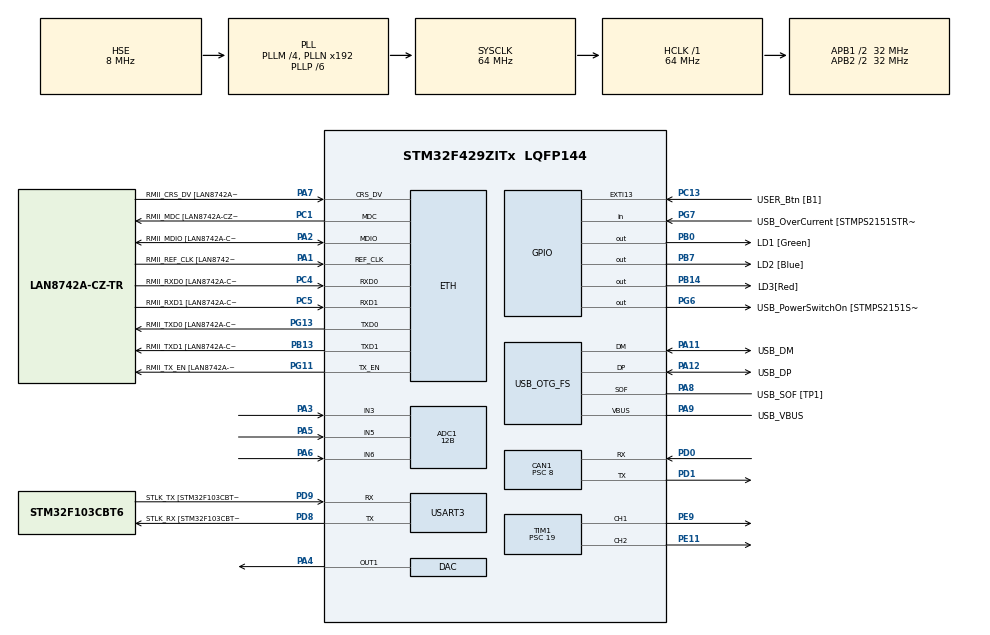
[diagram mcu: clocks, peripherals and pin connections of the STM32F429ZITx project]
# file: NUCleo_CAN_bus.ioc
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ADC1.Channel-2\#ChannelRegularConversion=ADC_CHANNEL_3
ADC1.Channel-3\#ChannelRegularConversion=ADC_CHANNEL_5
ADC1.Channel-4\#ChannelRegularConversion=ADC_CHANNEL_6
ADC1.ClockPrescaler=ADC_CLOCK_SYNC_PCLK_DIV4
ADC1.ContinuousConvMode=ENABLE
ADC1.DMAContinuousRequests=ENABLE
ADC1.DiscontinuousConvMode=DISABLE
ADC1.EOCSelection=ADC_EOC_SINGLE_CONV
ADC1.NbrOfConversion=3
ADC1.NbrOfConversionFlag=1
ADC1.Rank-2\#ChannelRegularConversion=1
ADC1.Rank-3\#ChannelRegularConversion=2
ADC1.Rank-4\#ChannelRegularConversion=3
ADC1.Resolution=ADC_RESOLUTION_12B
ADC1.SamplingTime-2\#ChannelRegularConversion=ADC_SAMPLETIME_84CYCLES
ADC1.SamplingTime-3\#ChannelRegularConversion=ADC_SAMPLETIME_84CYCLES
ADC1.SamplingTime-4\#ChannelRegularConversion=ADC_SAMPLETIME_112CYCLES
ADC1.ScanConvMode=ENABLE
ADC1.master=1
CAN1.ABOM=DISABLE
CAN1.BS1=CAN_BS1_3TQ
CAN1.BS2=CAN_BS2_4TQ
CAN1.CalculateBaudRate=500000
CAN1.CalculateTimeBit=2000
CAN1.CalculateTimeQuantum=250.0
CAN1.NART=DISABLE
CAN1.Prescaler=8
CAN1.SJW=CAN_SJW_1TQ
Dma.ADC1.0.Direction=DMA_PERIPH_TO_MEMORY
Dma.ADC1.0.FIFOMode=DMA_FIFOMODE_DISABLE
Dma.ADC1.0.Instance=DMA2_Stream0
Dma.ADC1.0.MemDataAlignment=DMA_MDATAALIGN_WORD
Dma.ADC1.0.MemInc=DMA_MINC_ENABLE
Dma.ADC1.0.Mode=DMA_CIRCULAR
Dma.ADC1.0.PeriphDataAlignment=DMA_PDATAALIGN_WORD
Dma.ADC1.0.PeriphInc=DMA_PINC_DISABLE
Dma.ADC1.0.Priority=DMA_PRIORITY_MEDIUM
Dma.DAC1.3.Direction=DMA_MEMORY_TO_PERIPH
Dma.DAC1.3.FIFOMode=DMA_FIFOMODE_DISABLE
Dma.DAC1.3.Instance=DMA1_Stream5
Dma.DAC1.3.MemDataAlignment=DMA_MDATAALIGN_WORD
Dma.DAC1.3.MemInc=DMA_MINC_ENABLE
Dma.DAC1.3.Mode=DMA_CIRCULAR
Dma.DAC1.3.PeriphDataAlignment=DMA_PDATAALIGN_WORD
Dma.DAC1.3.PeriphInc=DMA_PINC_DISABLE
Dma.DAC1.3.Priority=DMA_PRIORITY_LOW
Dma.Request0=ADC1
Dma.Request1=TIM1_CH1
Dma.Request2=TIM1_CH2
Dma.Request3=DAC1
Dma.TIM1_CH1.1.Direction=DMA_PERIPH_TO_MEMORY
Dma.TIM1_CH1.1.FIFOMode=DMA_FIFOMODE_DISABLE
Dma.TIM1_CH1.1.Instance=DMA2_Stream1
Dma.TIM1_CH1.1.MemDataAlignment=DMA_MDATAALIGN_WORD
Dma.TIM1_CH1.1.MemInc=DMA_MINC_ENABLE
Dma.TIM1_CH1.1.Mode=DMA_CIRCULAR
Dma.TIM1_CH1.1.PeriphDataAlignment=DMA_PDATAALIGN_WORD
Dma.TIM1_CH1.1.PeriphInc=DMA_PINC_DISABLE
Dma.TIM1_CH1.1.Priority=DMA_PRIORITY_LOW
Dma.TIM1_CH2.2.Direction=DMA_PERIPH_TO_MEMORY
Dma.TIM1_CH2.2.FIFOMode=DMA_FIFOMODE_DISABLE
Dma.TIM1_CH2.2.Instance=DMA2_Stream2
Dma.TIM1_CH2.2.MemDataAlignment=DMA_MDATAALIGN_WORD
Dma.TIM1_CH2.2.MemInc=DMA_MINC_ENABLE
Dma.TIM1_CH2.2.Mode=DMA_CIRCULAR
Dma.TIM1_CH2.2.PeriphDataAlignment=DMA_PDATAALIGN_WORD
Dma.TIM1_CH2.2.PeriphInc=DMA_PINC_DISABLE
Dma.TIM1_CH2.2.Priority=DMA_PRIORITY_LOW
ETH.MediaInterface=HAL_ETH_RMII_MODE
ETH.PHY_Name=LAN8742A_PHY_ADDRESS
ETH.PHY_Value=0
ETH.PhyAddress=0
FREERTOS.Tasks01=myTask01,24,128,StartTask01,Default,NULL,Dynamic,NULL,NULL;myTask02,8,128,StartTask02,Default,NULL,Dynamic,NULL,NULL;myTask03,16,128,StartTask03,Default,NULL,Dynamic,NULL,NULL;myTask04,44,128,StartTask04,Default,NULL,Dynamic,NULL,NULL
Mcu.Family=STM32F4
Mcu.Name=STM32F429ZITx
Mcu.Package=LQFP144
NVIC.CAN1_RX0_IRQn=true\:5\:0\:false\:false\:true\:true\:true\:true\:true
NVIC.DMA1_Stream5_IRQn=true\:5\:0\:false\:false\:true\:true\:false\:true\:true
NVIC.DMA2_Stream0_IRQn=true\:0\:0\:false\:false\:true\:false\:false\:true\:true
NVIC.DMA2_Stream1_IRQn=true\:5\:0\:false\:false\:true\:true\:false\:true\:true
NVIC.DMA2_Stream2_IRQn=true\:5\:0\:false\:false\:true\:true\:false\:true\:true
NVIC.PriorityGroup=NVIC_PRIORITYGROUP_4
NVIC.TIM7_IRQn=true\:15\:0\:false\:false\:true\:false\:false\:true\:true
NVIC.TimeBase=TIM7_IRQn
NVIC.TimeBaseIP=TIM7
NVIC.USART3_IRQn=true\:5\:0\:false\:false\:true\:false\:true\:true\:true
PA1.GPIO_Label=RMII_REF_CLK [LAN8742A-CZ-TR_REFCLK0]
PA1.Mode=RMII
PA1.Signal=ETH_REF_CLK
PA10.GPIO_Label=USB_ID
PA10.Signal=USB_OTG_FS_ID
PA11.GPIO_Label=USB_DM
PA11.Mode=Device_Only
PA11.Signal=USB_OTG_FS_DM
PA12.GPIO_Label=USB_DP
PA12.Mode=Device_Only
PA12.Signal=USB_OTG_FS_DP
PA13.GPIO_Label=TMS
PA13.Mode=Serial_Wire
PA13.Signal=SYS_JTMS-SWDIO
PA14.GPIO_Label=TCK
PA14.Mode=Serial_Wire
PA14.Signal=SYS_JTCK-SWCLK
PA2.GPIO_Label=RMII_MDIO [LAN8742A-CZ-TR_MDIO]
PA2.Mode=RMII
PA2.Signal=ETH_MDIO
PA3.Signal=ADCx_IN3
PA4.Signal=COMP_DAC1_group
PA5.Signal=ADCx_IN5
PA6.Signal=ADCx_IN6
PA7.GPIO_Label=RMII_CRS_DV [LAN8742A-CZ-TR_CRS_DV]
PA7.Mode=RMII
PA7.Signal=ETH_CRS_DV
PA8.GPIO_Label=USB_SOF [TP1]
PA8.Mode=Activate_SOF_FS
PA8.Signal=USB_OTG_FS_SOF
PA9.GPIO_Label=USB_VBUS
PA9.Mode=Activate_VBUS
PA9.Signal=USB_OTG_FS_VBUS
PB0.GPIO_Label=LD1 [Green]
PB0.Signal=GPIO_Output
PB13.GPIO_Label=RMII_TXD1 [LAN8742A-CZ-TR_TXD1]
PB13.Mode=RMII
PB13.Signal=ETH_TXD1
PB14.GPIO_Label=LD3[Red]
PB14.Signal=GPIO_Output
PB7.GPIO_Label=LD2 [Blue]
PB7.Signal=GPIO_Output
PC1.GPIO_Label=RMII_MDC [LAN8742A-CZ-TR_MDC]
PC1.Mode=RMII
PC1.Signal=ETH_MDC
PC13.GPIO_Label=USER_Btn [B1]
PC13.GPIO_PuPd=GPIO_PULLDOWN
PC13.Signal=GPXTI13
PC14/OSC32_IN.Mode=LSE-External-Oscillator
PC14/OSC32_IN.Signal=RCC_OSC32_IN
PC15/OSC32_OUT.Mode=LSE-External-Oscillator
PC15/OSC32_OUT.Signal=RCC_OSC32_OUT
PC4.GPIO_Label=RMII_RXD0 [LAN8742A-CZ-TR_RXD0]
PC4.Mode=RMII
PC4.Signal=ETH_RXD0
PC5.GPIO_Label=RMII_RXD1 [LAN8742A-CZ-TR_RXD1]
PC5.Mode=RMII
PC5.Signal=ETH_RXD1
PD0.Mode=CAN_Activate
PD0.Signal=CAN1_RX
PD1.Mode=CAN_Activate
PD1.Signal=CAN1_TX
PD8.GPIO_Label=STLK_RX [STM32F103CBT6_PA3]
PD8.Mode=Asynchronous
PD8.Signal=USART3_TX
PD9.GPIO_Label=STLK_TX [STM32F103CBT6_PA2]
PD9.Mode=Asynchronous
PD9.Signal=USART3_RX
PE11.Signal=S_TIM1_CH2
PE9.Signal=S_TIM1_CH1
PG11.GPIO_Label=RMII_TX_EN [LAN8742A-CZ-TR_TXEN]
PG11.Mode=RMII
PG11.Signal=ETH_TX_EN
PG13.GPIO_Label=RMII_TXD0 [LAN8742A-CZ-TR_TXD0]
PG13.Mode=RMII
PG13.Signal=ETH_TXD0
PG6.GPIO_Label=USB_PowerSwitchOn [STMPS2151STR_EN]
PG6.Signal=GPIO_Output
PG7.GPIO_Label=USB_OverCurrent [STMPS2151STR_FAULT]
PG7.Signal=GPIO_Input
PH0/OSC_IN.GPIO_Label=MCO [STM32F103CBT6_PA8]
PH0/OSC_IN.Mode=HSE-External-Clock-Source
PH0/OSC_IN.Signal=RCC_OSC_IN
PH1/OSC_OUT.Mode=HSE-External-Clock-Source
PH1/OSC_OUT.Signal=RCC_OSC_OUT
ProjectManager.HeapSize=0x200
ProjectManager.StackSize=0x400
ProjectManager.TargetToolchain=STM32CubeIDE
RCC.48MHZClocksFreq_Value=48000000
RCC.AHBFreq_Value=64000000
RCC.APB1CLKDivider=RCC_HCLK_DIV2
RCC.APB1Freq_Value=32000000
RCC.APB1TimFreq_Value=64000000
RCC.APB2CLKDivider=RCC_HCLK_DIV2
RCC.APB2Freq_Value=32000000
RCC.APB2TimFreq_Value=64000000
RCC.CortexFreq_Value=64000000
RCC.HCLKFreq_Value=64000000
RCC.HSE_VALUE=8000000
RCC.HSI_VALUE=16000000
RCC.PLLM=4
RCC.PLLMUL=RCC_PLL_MUL9
RCC.PLLP=RCC_PLLP_DIV6
RCC.PLLQ=8
RCC.PRESCALERUSB=RCC_USBCLKSOURCE_PLL_DIV1_5
RCC.SYSCLKFreq_VALUE=64000000
RCC.SYSCLKSource=RCC_SYSCLKSOURCE_PLLCLK
RCC.SYSCLKSourceVirtual=RCC_SYSCLKSOURCE_PLLCLK
RCC.USBFreq_Value=48000000
RCC.VCOOutputFreq_Value=384000000
SH.ADCx_IN3.0=ADC1_IN3,IN3
SH.ADCx_IN5.0=ADC1_IN5,IN5
SH.ADCx_IN6.0=ADC1_IN6,IN6
SH.COMP_DAC1_group.0=DAC_OUT1,DAC_OUT1
SH.S_TIM1_CH1.0=TIM1_CH1,PWM Generation1 CH1
SH.S_TIM1_CH2.0=TIM1_CH2,PWM Generation2 CH2
TIM1.Channel-PWM\ Generation1\ CH1=TIM_CHANNEL_1
TIM1.Channel-PWM\ Generation2\ CH2=TIM_CHANNEL_2
TIM1.Period=63999
TIM1.Prescaler=19
USART3.Parity=PARITY_NONE
USART3.VirtualMode=VM_ASYNC
USB_OTG_FS.VirtualMode=Device_Only
VP_FREERTOS_VS_CMSIS_V2.Mode=CMSIS_V2
VP_SYS_VS_tim7.Mode=TIM7
VP_TIM1_VS_ClockSourceINT.Mode=Internal
board=NUCLEO-F429ZI

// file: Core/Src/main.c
/* USER CODE BEGIN Header */
/**
 * https://doc.qt.io/qt-6/qtserialbus-can-example.html
 *
  ******************************************************************************
  * @file           : main.c
  * @brief          : Main program body
  ******************************************************************************
  * @attention
  *
  * Copyright (c) 2024 STMicroelectronics.
  * All rights reserved.
  *
  * This software is licensed under terms that can be found in the LICENSE file
  * in the root directory of this software component.
  * If no LICENSE file comes with this software, it is provided AS-IS.
  *
  ******************************************************************************
  */
/* USER CODE END Header */
#include "main.h"
#include "string.h"
#include "cmsis_os.h"

/* USER CODE BEGIN PD */
	uint8_t BlueBtn = 0;
	uint32_t adcdma[3];
	uint32_t m_ave_buff[3][20];
	uint32_t  adc_input[3];
	uint32_t  pwm_outLED  = 0;
	uint32_t  pwm_outSERV = 0;

	CAN_TxHeaderTypeDef TxHeader;
	CAN_RxHeaderTypeDef RxHeader;

	uint8_t TXdata_CAN1[8];
	uint8_t RXdata_CAN1[8];
	uint32_t TxMailBox;

	void HAL_CAN_RxFifo0MsgPendingCallback(CAN_HandleTypeDef *hcan){
		HAL_CAN_GetRxMessage(hcan, CAN_RX_FIFO0  , &RxHeader, RXdata_CAN1);
		if(RxHeader.DLC == 3 )
			HAL_GPIO_TogglePin(GPIOB, GPIO_PIN_14);
	}

volatile char TXdata_Usart3[15];    // data

/* USER CODE END PD */

ETH_TxPacketConfig TxConfig;
ETH_DMADescTypeDef  DMARxDscrTab[ETH_RX_DESC_CNT]; /* Ethernet Rx DMA Descriptors */
ETH_DMADescTypeDef  DMATxDscrTab[ETH_TX_DESC_CNT]; /* Ethernet Tx DMA Descriptors */

ADC_HandleTypeDef hadc1;
DMA_HandleTypeDef hdma_adc1;

CAN_HandleTypeDef hcan1;

DAC_HandleTypeDef hdac;
DMA_HandleTypeDef hdma_dac1;

ETH_HandleTypeDef heth;

TIM_HandleTypeDef htim1;
DMA_HandleTypeDef hdma_tim1_ch1;
DMA_HandleTypeDef hdma_tim1_ch2;

UART_HandleTypeDef huart3;

PCD_HandleTypeDef hpcd_USB_OTG_FS;

/* Definitions for myTask01 */
osThreadId_t myTask01Handle;
const osThreadAttr_t myTask01_attributes = {
  .name = "myTask01",
  .stack_size = 128 * 4,
  .priority = (osPriority_t) osPriorityNormal,
};
/* Definitions for myTask02 */
osThreadId_t myTask02Handle;
const osThreadAttr_t myTask02_attributes = {
  .name = "myTask02",
  .stack_size = 128 * 4,
  .priority = (osPriority_t) osPriorityLow,
};
/* Definitions for myTask03 */
osThreadId_t myTask03Handle;
const osThreadAttr_t myTask03_attributes = {
  .name = "myTask03",
  .stack_size = 128 * 4,
  .priority = (osPriority_t) osPriorityBelowNormal,
};
/* Definitions for myTask04 */
osThreadId_t myTask04Handle;
const osThreadAttr_t myTask04_attributes = {
  .name = "myTask04",
  .stack_size = 128 * 4,
  .priority = (osPriority_t) osPriorityHigh4,
};

void SystemClock_Config(void);
static void MX_GPIO_Init(void);
static void MX_DMA_Init(void);
static void MX_ETH_Init(void);
static void MX_USART3_UART_Init(void);
static void MX_USB_OTG_FS_PCD_Init(void);
static void MX_ADC1_Init(void);
static void MX_TIM1_Init(void);
static void MX_DAC_Init(void);
static void MX_CAN1_Init(void);
void StartTask01(void *argument);
void StartTask02(void *argument);
void StartTask03(void *argument);
void StartTask04(void *argument);

/* USER CODE BEGIN 0 */
uint8_t updating_index = 0;
uint8_t checkTx_UART3 =0;

uint32_t MAve_Filter_use(uint32_t * buffer, int length){
	int sum= 0;
	for(int i=0; i <length ; i++)// moving average
			sum = sum + buffer[i];
	return sum/length; //take averagevalue
}
int MAve_Filter_fill(uint32_t * buffer, int length ,uint32_t new_value){

	if(updating_index >= length)//if reached size
		updating_index =0;

	buffer[updating_index]=new_value; // update with new value
	updating_index++;//move to next index point
	return 0;
}
void HAL_ADC_ConvCpltCallback(ADC_HandleTypeDef* hadc){
	  MAve_Filter_fill(m_ave_buff[0],sizeof(m_ave_buff[0])/sizeof(m_ave_buff[0][0]),adcdma[0]);
	  MAve_Filter_fill(m_ave_buff[1],sizeof(m_ave_buff[1])/sizeof(m_ave_buff[1][0]),adcdma[1]);
	  MAve_Filter_fill(m_ave_buff[2],sizeof(m_ave_buff[2])/sizeof(m_ave_buff[2][0]),adcdma[2]);
}
void HAL_UART_TxCpltCallback(UART_HandleTypeDef * huart){
	  checkTx_UART3 = 1;
}

/* USER CODE END 0 */

int main(void)
{

  /* MCU Configuration--------------------------------------------------------*/

  /* Reset of all peripherals, Initializes the Flash interface and the Systick. */
  HAL_Init();

  /* Configure the system clock */
  SystemClock_Config();

  /* Initialize all configured peripherals */
  MX_GPIO_Init();
  MX_DMA_Init();
  MX_ETH_Init();
  MX_USART3_UART_Init();
  MX_USB_OTG_FS_PCD_Init();
  MX_ADC1_Init();
  MX_TIM1_Init();
  MX_DAC_Init();
  MX_CAN1_Init();
  /* USER CODE BEGIN 2 */

  HAL_ADC_Start_DMA(&hadc1, (uint32_t *)  adcdma , hadc1.Init.NbrOfConversion );

  HAL_TIM_PWM_Start_DMA(&htim1, TIM_CHANNEL_1,  &pwm_outLED , 1 );
  HAL_TIM_PWM_Start_DMA(&htim1, TIM_CHANNEL_2 , (&pwm_outSERV) , 1 );

  HAL_CAN_Start(&hcan1);
  HAL_CAN_ActivateNotification(&hcan1, CAN_IT_RX_FIFO0_MSG_PENDING);

  TxHeader.DLC = 4;//data length
  TxHeader.IDE = CAN_ID_STD;
  TxHeader.RTR = CAN_RTR_DATA;
  TxHeader.StdId = 0x371; // The ID

  //HAL_DAC_Start_DMA(&hdac, DAC_CHANNEL_1, &adc_input[2] , 1 , DAC_ALIGN_12B_R );

  /* USER CODE END 2 */

  /* Init scheduler */
  osKernelInitialize();

  /* Create the thread(s) */
  /* creation of myTask01 */
  myTask01Handle = osThreadNew(StartTask01, NULL, &myTask01_attributes);

  /* creation of myTask02 */
  myTask02Handle = osThreadNew(StartTask02, NULL, &myTask02_attributes);

  /* creation of myTask03 */
  myTask03Handle = osThreadNew(StartTask03, NULL, &myTask03_attributes);

  /* creation of myTask04 */
  myTask04Handle = osThreadNew(StartTask04, NULL, &myTask04_attributes);

  /* Start scheduler */
  osKernelStart();
  /* We should never get here as control is now taken by the scheduler */
  /* Infinite loop */
  while (1)
  {

  }
}

void SystemClock_Config(void)
{
  RCC_OscInitTypeDef RCC_OscInitStruct = {0};
  RCC_ClkInitTypeDef RCC_ClkInitStruct = {0};

  /** Configure the main internal regulator output voltage
  */
  __HAL_RCC_PWR_CLK_ENABLE();
  __HAL_PWR_VOLTAGESCALING_CONFIG(PWR_REGULATOR_VOLTAGE_SCALE3);

  /** Initializes the RCC Oscillators according to the specified parameters
  * in the RCC_OscInitTypeDef structure.
  */
  RCC_OscInitStruct.OscillatorType = RCC_OSCILLATORTYPE_HSE;
  RCC_OscInitStruct.HSEState = RCC_HSE_BYPASS;
  RCC_OscInitStruct.PLL.PLLState = RCC_PLL_ON;
  RCC_OscInitStruct.PLL.PLLSource = RCC_PLLSOURCE_HSE;
  RCC_OscInitStruct.PLL.PLLM = 4;
  RCC_OscInitStruct.PLL.PLLN = 192;
  RCC_OscInitStruct.PLL.PLLP = RCC_PLLP_DIV6;
  RCC_OscInitStruct.PLL.PLLQ = 8;
  if (HAL_RCC_OscConfig(&RCC_OscInitStruct) != HAL_OK)
  {
    Error_Handler();
  }

  /** Initializes the CPU, AHB and APB buses clocks
  */
  RCC_ClkInitStruct.ClockType = RCC_CLOCKTYPE_HCLK|RCC_CLOCKTYPE_SYSCLK
                              |RCC_CLOCKTYPE_PCLK1|RCC_CLOCKTYPE_PCLK2;
  RCC_ClkInitStruct.SYSCLKSource = RCC_SYSCLKSOURCE_PLLCLK;
  RCC_ClkInitStruct.AHBCLKDivider = RCC_SYSCLK_DIV1;
  RCC_ClkInitStruct.APB1CLKDivider = RCC_HCLK_DIV2;
  RCC_ClkInitStruct.APB2CLKDivider = RCC_HCLK_DIV2;

  if (HAL_RCC_ClockConfig(&RCC_ClkInitStruct, FLASH_LATENCY_2) != HAL_OK)
  {
    Error_Handler();
  }
}

static void MX_ADC1_Init(void)
{

  ADC_ChannelConfTypeDef sConfig = {0};

  /** Configure the global features of the ADC (Clock, Resolution, Data Alignment and number of conversion)
  */
  hadc1.Instance = ADC1;
  hadc1.Init.ClockPrescaler = ADC_CLOCK_SYNC_PCLK_DIV4;
  hadc1.Init.Resolution = ADC_RESOLUTION_12B;
  hadc1.Init.ScanConvMode = ENABLE;
  hadc1.Init.ContinuousConvMode = ENABLE;
  hadc1.Init.DiscontinuousConvMode = DISABLE;
  hadc1.Init.ExternalTrigConvEdge = ADC_EXTERNALTRIGCONVEDGE_NONE;
  hadc1.Init.ExternalTrigConv = ADC_SOFTWARE_START;
  hadc1.Init.DataAlign = ADC_DATAALIGN_RIGHT;
  hadc1.Init.NbrOfConversion = 3;
  hadc1.Init.DMAContinuousRequests = ENABLE;
  hadc1.Init.EOCSelection = ADC_EOC_SINGLE_CONV;
  if (HAL_ADC_Init(&hadc1) != HAL_OK)
  {
    Error_Handler();
  }

  /** Configure for the selected ADC regular channel its corresponding rank in the sequencer and its sample time.
  */
  sConfig.Channel = ADC_CHANNEL_3;
  sConfig.Rank = 1;
  sConfig.SamplingTime = ADC_SAMPLETIME_84CYCLES;
  if (HAL_ADC_ConfigChannel(&hadc1, &sConfig) != HAL_OK)
  {
    Error_Handler();
  }

  /** Configure for the selected ADC regular channel its corresponding rank in the sequencer and its sample time.
  */
  sConfig.Channel = ADC_CHANNEL_5;
  sConfig.Rank = 2;
  if (HAL_ADC_ConfigChannel(&hadc1, &sConfig) != HAL_OK)
  {
    Error_Handler();
  }

  /** Configure for the selected ADC regular channel its corresponding rank in the sequencer and its sample time.
  */
  sConfig.Channel = ADC_CHANNEL_6;
  sConfig.Rank = 3;
  sConfig.SamplingTime = ADC_SAMPLETIME_112CYCLES;
  if (HAL_ADC_ConfigChannel(&hadc1, &sConfig) != HAL_OK)
  {
    Error_Handler();
  }

}

static void MX_CAN1_Init(void)
{

  hcan1.Instance = CAN1;
  hcan1.Init.Prescaler = 8;
  hcan1.Init.Mode = CAN_MODE_NORMAL;
  hcan1.Init.SyncJumpWidth = CAN_SJW_1TQ;
  hcan1.Init.TimeSeg1 = CAN_BS1_3TQ;
  hcan1.Init.TimeSeg2 = CAN_BS2_4TQ;
  hcan1.Init.TimeTriggeredMode = DISABLE;
  hcan1.Init.AutoBusOff = DISABLE;
  hcan1.Init.AutoWakeUp = DISABLE;
  hcan1.Init.AutoRetransmission = DISABLE;
  hcan1.Init.ReceiveFifoLocked = DISABLE;
  hcan1.Init.TransmitFifoPriority = DISABLE;
  if (HAL_CAN_Init(&hcan1) != HAL_OK)
  {
    Error_Handler();
  }
  /* USER CODE BEGIN CAN1_Init 2 */
  CAN_FilterTypeDef canfilterconfig;

    canfilterconfig.FilterActivation = CAN_FILTER_ENABLE;
    canfilterconfig.FilterBank = 18;  // which filter bank to use from the assigned ones
    canfilterconfig.FilterFIFOAssignment = CAN_FILTER_FIFO0;
    canfilterconfig.FilterIdHigh = 0x446<<5;
    canfilterconfig.FilterIdLow = 0;
    canfilterconfig.FilterMaskIdHigh = 0x446<<5;
    canfilterconfig.FilterMaskIdLow = 0x0000;
    canfilterconfig.FilterMode = CAN_FILTERMODE_IDMASK;
    canfilterconfig.FilterScale = CAN_FILTERSCALE_32BIT;
    canfilterconfig.SlaveStartFilterBank = 20;  // how many filters to assign to the CAN1 (master can)

    HAL_CAN_ConfigFilter(&hcan1, &canfilterconfig);
  /* USER CODE END CAN1_Init 2 */

}

static void MX_DAC_Init(void)
{

  DAC_ChannelConfTypeDef sConfig = {0};

  /** DAC Initialization
  */
  hdac.Instance = DAC;
  if (HAL_DAC_Init(&hdac) != HAL_OK)
  {
    Error_Handler();
  }

  /** DAC channel OUT1 config
  */
  sConfig.DAC_Trigger = DAC_TRIGGER_NONE;
  sConfig.DAC_OutputBuffer = DAC_OUTPUTBUFFER_ENABLE;
  if (HAL_DAC_ConfigChannel(&hdac, &sConfig, DAC_CHANNEL_1) != HAL_OK)
  {
    Error_Handler();
  }

}

static void MX_ETH_Init(void)
{

   static uint8_t MACAddr[6];

  heth.Instance = ETH;
  MACAddr[0] = 0x00;
  MACAddr[1] = 0x80;
  MACAddr[2] = 0xE1;
  MACAddr[3] = 0x00;
  MACAddr[4] = 0x00;
  MACAddr[5] = 0x00;
  heth.Init.MACAddr = &MACAddr[0];
  heth.Init.MediaInterface = HAL_ETH_RMII_MODE;
  heth.Init.TxDesc = DMATxDscrTab;
  heth.Init.RxDesc = DMARxDscrTab;
  heth.Init.RxBuffLen = 1524;

  if (HAL_ETH_Init(&heth) != HAL_OK)
  {
    Error_Handler();
  }

  memset(&TxConfig, 0 , sizeof(ETH_TxPacketConfig));
  TxConfig.Attributes = ETH_TX_PACKETS_FEATURES_CSUM | ETH_TX_PACKETS_FEATURES_CRCPAD;
  TxConfig.ChecksumCtrl = ETH_CHECKSUM_IPHDR_PAYLOAD_INSERT_PHDR_CALC;
  TxConfig.CRCPadCtrl = ETH_CRC_PAD_INSERT;

}

static void MX_TIM1_Init(void)
{

  TIM_ClockConfigTypeDef sClockSourceConfig = {0};
  TIM_MasterConfigTypeDef sMasterConfig = {0};
  TIM_OC_InitTypeDef sConfigOC = {0};
  TIM_BreakDeadTimeConfigTypeDef sBreakDeadTimeConfig = {0};

  htim1.Instance = TIM1;
  htim1.Init.Prescaler = 19;
  htim1.Init.CounterMode = TIM_COUNTERMODE_UP;
  htim1.Init.Period = 63999;
  htim1.Init.ClockDivision = TIM_CLOCKDIVISION_DIV1;
  htim1.Init.RepetitionCounter = 0;
  htim1.Init.AutoReloadPreload = TIM_AUTORELOAD_PRELOAD_DISABLE;
  if (HAL_TIM_Base_Init(&htim1) != HAL_OK)
  {
    Error_Handler();
  }
  sClockSourceConfig.ClockSource = TIM_CLOCKSOURCE_INTERNAL;
  if (HAL_TIM_ConfigClockSource(&htim1, &sClockSourceConfig) != HAL_OK)
  {
    Error_Handler();
  }
  if (HAL_TIM_PWM_Init(&htim1) != HAL_OK)
  {
    Error_Handler();
  }
  sMasterConfig.MasterOutputTrigger = TIM_TRGO_RESET;
  sMasterConfig.MasterSlaveMode = TIM_MASTERSLAVEMODE_DISABLE;
  if (HAL_TIMEx_MasterConfigSynchronization(&htim1, &sMasterConfig) != HAL_OK)
  {
    Error_Handler();
  }
  sConfigOC.OCMode = TIM_OCMODE_PWM1;
  sConfigOC.Pulse = 0;
  sConfigOC.OCPolarity = TIM_OCPOLARITY_HIGH;
  sConfigOC.OCNPolarity = TIM_OCNPOLARITY_HIGH;
  sConfigOC.OCFastMode = TIM_OCFAST_DISABLE;
  sConfigOC.OCIdleState = TIM_OCIDLESTATE_RESET;
  sConfigOC.OCNIdleState = TIM_OCNIDLESTATE_RESET;
  if (HAL_TIM_PWM_ConfigChannel(&htim1, &sConfigOC, TIM_CHANNEL_1) != HAL_OK)
  {
    Error_Handler();
  }
  if (HAL_TIM_PWM_ConfigChannel(&htim1, &sConfigOC, TIM_CHANNEL_2) != HAL_OK)
  {
    Error_Handler();
  }
  sBreakDeadTimeConfig.OffStateRunMode = TIM_OSSR_DISABLE;
  sBreakDeadTimeConfig.OffStateIDLEMode = TIM_OSSI_DISABLE;
  sBreakDeadTimeConfig.LockLevel = TIM_LOCKLEVEL_OFF;
  sBreakDeadTimeConfig.DeadTime = 0;
  sBreakDeadTimeConfig.BreakState = TIM_BREAK_DISABLE;
  sBreakDeadTimeConfig.BreakPolarity = TIM_BREAKPOLARITY_HIGH;
  sBreakDeadTimeConfig.AutomaticOutput = TIM_AUTOMATICOUTPUT_DISABLE;
  if (HAL_TIMEx_ConfigBreakDeadTime(&htim1, &sBreakDeadTimeConfig) != HAL_OK)
  {
    Error_Handler();
  }
  HAL_TIM_MspPostInit(&htim1);

}

static void MX_USART3_UART_Init(void)
{

  huart3.Instance = USART3;
  huart3.Init.BaudRate = 115200;
  huart3.Init.WordLength = UART_WORDLENGTH_8B;
  huart3.Init.StopBits = UART_STOPBITS_1;
  huart3.Init.Parity = UART_PARITY_NONE;
  huart3.Init.Mode = UART_MODE_TX_RX;
  huart3.Init.HwFlowCtl = UART_HWCONTROL_NONE;
  huart3.Init.OverSampling = UART_OVERSAMPLING_16;
  if (HAL_UART_Init(&huart3) != HAL_OK)
  {
    Error_Handler();
  }

}

static void MX_USB_OTG_FS_PCD_Init(void)
{

  hpcd_USB_OTG_FS.Instance = USB_OTG_FS;
  hpcd_USB_OTG_FS.Init.dev_endpoints = 4;
  hpcd_USB_OTG_FS.Init.speed = PCD_SPEED_FULL;
  hpcd_USB_OTG_FS.Init.dma_enable = DISABLE;
  hpcd_USB_OTG_FS.Init.phy_itface = PCD_PHY_EMBEDDED;
  hpcd_USB_OTG_FS.Init.Sof_enable = ENABLE;
  hpcd_USB_OTG_FS.Init.low_power_enable = DISABLE;
  hpcd_USB_OTG_FS.Init.lpm_enable = DISABLE;
  hpcd_USB_OTG_FS.Init.vbus_sensing_enable = ENABLE;
  hpcd_USB_OTG_FS.Init.use_dedicated_ep1 = DISABLE;
  if (HAL_PCD_Init(&hpcd_USB_OTG_FS) != HAL_OK)
  {
    Error_Handler();
  }

}

static void MX_DMA_Init(void)
{

  /* DMA controller clock enable */
  __HAL_RCC_DMA2_CLK_ENABLE();
  __HAL_RCC_DMA1_CLK_ENABLE();

  /* DMA interrupt init */
  /* DMA1_Stream5_IRQn interrupt configuration */
  HAL_NVIC_SetPriority(DMA1_Stream5_IRQn, 5, 0);
  HAL_NVIC_EnableIRQ(DMA1_Stream5_IRQn);
  /* DMA2_Stream0_IRQn interrupt configuration */
  HAL_NVIC_SetPriority(DMA2_Stream0_IRQn, 0, 0);
  HAL_NVIC_EnableIRQ(DMA2_Stream0_IRQn);
  /* DMA2_Stream1_IRQn interrupt configuration */
  HAL_NVIC_SetPriority(DMA2_Stream1_IRQn, 5, 0);
  HAL_NVIC_EnableIRQ(DMA2_Stream1_IRQn);
  /* DMA2_Stream2_IRQn interrupt configuration */
  HAL_NVIC_SetPriority(DMA2_Stream2_IRQn, 5, 0);
  HAL_NVIC_EnableIRQ(DMA2_Stream2_IRQn);

}

static void MX_GPIO_Init(void)
{
  GPIO_InitTypeDef GPIO_InitStruct = {0};

  /* GPIO Ports Clock Enable */
  __HAL_RCC_GPIOC_CLK_ENABLE();
  __HAL_RCC_GPIOH_CLK_ENABLE();
  __HAL_RCC_GPIOA_CLK_ENABLE();
  __HAL_RCC_GPIOB_CLK_ENABLE();
  __HAL_RCC_GPIOE_CLK_ENABLE();
  __HAL_RCC_GPIOD_CLK_ENABLE();
  __HAL_RCC_GPIOG_CLK_ENABLE();

  /*Configure GPIO pin Output Level */
  HAL_GPIO_WritePin(GPIOB, LD1_Pin|LD3_Pin|LD2_Pin, GPIO_PIN_RESET);

  /*Configure GPIO pin Output Level */
  HAL_GPIO_WritePin(USB_PowerSwitchOn_GPIO_Port, USB_PowerSwitchOn_Pin, GPIO_PIN_RESET);

  /*Configure GPIO pin : USER_Btn_Pin */
  GPIO_InitStruct.Pin = USER_Btn_Pin;
  GPIO_InitStruct.Mode = GPIO_MODE_IT_RISING;
  GPIO_InitStruct.Pull = GPIO_PULLDOWN;
  HAL_GPIO_Init(USER_Btn_GPIO_Port, &GPIO_InitStruct);

  /*Configure GPIO pins : LD1_Pin LD3_Pin LD2_Pin */
  GPIO_InitStruct.Pin = LD1_Pin|LD3_Pin|LD2_Pin;
  GPIO_InitStruct.Mode = GPIO_MODE_OUTPUT_PP;
  GPIO_InitStruct.Pull = GPIO_NOPULL;
  GPIO_InitStruct.Speed = GPIO_SPEED_FREQ_LOW;
  HAL_GPIO_Init(GPIOB, &GPIO_InitStruct);

  /*Configure GPIO pin : USB_PowerSwitchOn_Pin */
  GPIO_InitStruct.Pin = USB_PowerSwitchOn_Pin;
  GPIO_InitStruct.Mode = GPIO_MODE_OUTPUT_PP;
  GPIO_InitStruct.Pull = GPIO_NOPULL;
  GPIO_InitStruct.Speed = GPIO_SPEED_FREQ_LOW;
  HAL_GPIO_Init(USB_PowerSwitchOn_GPIO_Port, &GPIO_InitStruct);

  /*Configure GPIO pin : USB_OverCurrent_Pin */
  GPIO_InitStruct.Pin = USB_OverCurrent_Pin;
  GPIO_InitStruct.Mode = GPIO_MODE_INPUT;
  GPIO_InitStruct.Pull = GPIO_NOPULL;
  HAL_GPIO_Init(USB_OverCurrent_GPIO_Port, &GPIO_InitStruct);

}

void StartTask01(void *argument)
{
  /* USER CODE BEGIN 5 */
  /* Infinite loop */
  for(;;)
  {//servo and push button
	 if(HAL_GPIO_ReadPin(GPIOC, GPIO_PIN_13) == GPIO_PIN_SET ){
		 HAL_GPIO_WritePin(GPIOB, GPIO_PIN_0, GPIO_PIN_SET);
		  BlueBtn = 1;
	 }
	 else{
		 HAL_GPIO_WritePin(GPIOB, GPIO_PIN_0, GPIO_PIN_RESET);
		  BlueBtn = 0;
	 }

//
	adc_input[0] = MAve_Filter_use(m_ave_buff[0],sizeof(m_ave_buff[0])/sizeof(m_ave_buff[0][0]) );
	pwm_outSERV = (adc_input[0]*15)/8 + 915;
    osDelay(180);
  }
  /* USER CODE END 5 */
}

void StartTask02(void *argument)
{
  /* USER CODE BEGIN StartTask02 */
	uint16_t ShmTrig_value = 2047;
  /* Infinite loop */
  for(;;)
  {//Blue led
	  if(HAL_GPIO_ReadPin(GPIOB, GPIO_PIN_7)== GPIO_PIN_SET)
	  	  ShmTrig_value=1023;
	  else
		  ShmTrig_value=3071;
	adc_input[2] =MAve_Filter_use(m_ave_buff[2], sizeof(m_ave_buff[2])/sizeof(m_ave_buff[2][0]) );

	HAL_GPIO_WritePin(GPIOB, GPIO_PIN_7,adc_input[2] >ShmTrig_value);

    osDelay(150);
  }
  /* USER CODE END StartTask02 */
}

void StartTask03(void *argument)
{
  /* USER CODE BEGIN StartTask03 */
  /* Infinite loop */
  for(;;)
  {
	 adc_input[1] = MAve_Filter_use(m_ave_buff[1], sizeof(m_ave_buff[1])/sizeof(m_ave_buff[1][0]));
	 pwm_outLED = adc_input[1] * 15;
	  osDelay(200);
  }
  /* USER CODE END StartTask03 */
}

/* USER CODE BEGIN Header_StartTask04 */
/**
* @brief Function implementing the myTask04 thread.
* @param argument: Not used
* @retval None
*/
unsigned const char  struart[40] = "I like ride a bike ";

unsigned  char TXstr_Usart3[20] = "LOOK AT ME";    // sprintf
/* USER CODE END Header_StartTask04 */
void StartTask04(void *argument)
{
  /* USER CODE BEGIN StartTask04 */
  /* Infinite loop */
  for(;;)
  {
	  /*
	 for(int count=1 ; count<=3 ; count++){
		 TXdata_CAN1[count*2-2] =0xff && adc_input[count-1];
		 TXdata_CAN1[count*2-1] =(0xff00 && adc_input[count-1])>>8;

	 }
	 HAL_CAN_AddTxMessage(&hcan1, &TxHeader, TXdata_CAN1, &TxMailBox);

	 if(checkTx_UART3)
	 */
	 {
		 // HAL_UART_Transmit(&huart3, &struart,  strlen(struart) , 200);

		 memset((char*)TXstr_Usart3,0,sizeof(TXstr_Usart3));
		 sprintf((char*)TXstr_Usart3,"%lu  %lu  %lu %d\n" , adc_input[0], adc_input[1], adc_input[2], BlueBtn);
		 HAL_UART_Transmit(&huart3, (const unsigned * )TXstr_Usart3,  strlen(TXstr_Usart3) , 100);
		 checkTx_UART3=0;
	 }
//sizeof(TXdata_Usart3)/sizeof(TXdata_Usart3[0])
	 osDelay(140);
  }
  /* USER CODE END StartTask04 */
}

void HAL_TIM_PeriodElapsedCallback(TIM_HandleTypeDef *htim)
{
  if (htim->Instance == TIM7) {
    HAL_IncTick();
  }
}

void Error_Handler(void)
{
  __disable_irq();
  while (1)
  {
  }
}
